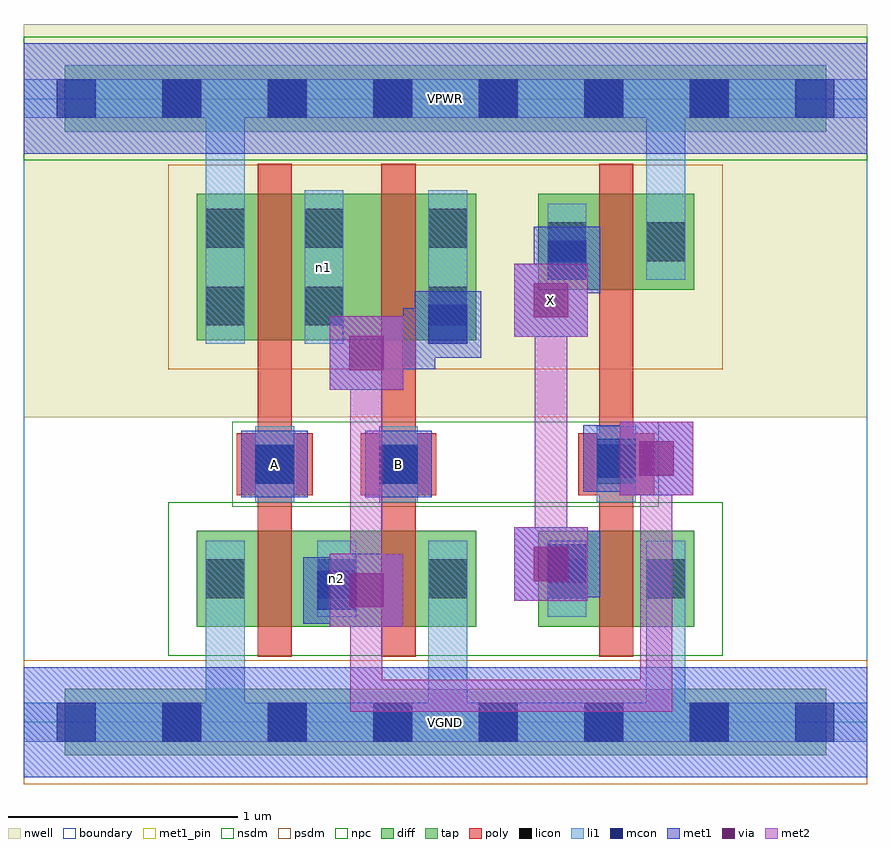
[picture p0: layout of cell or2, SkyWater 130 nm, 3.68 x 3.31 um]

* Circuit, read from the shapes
.subckt or2 A B VGND VPWR X n1 n2
XM1 n2 A VGND VGND sky130_fd_pr__nfet_01v8 w=0.42 l=0.15
XM2 VGND B n2 VGND sky130_fd_pr__nfet_01v8 w=0.42 l=0.15
XM3 VGND n2 X VGND sky130_fd_pr__nfet_01v8 w=0.42 l=0.15
XM4 n1 A VPWR VPWR sky130_fd_pr__pfet_01v8 w=0.64 l=0.15
XM5 n2 B n1 VPWR sky130_fd_pr__pfet_01v8 w=0.64 l=0.15
XM6 VPWR n2 X VPWR sky130_fd_pr__pfet_01v8 w=0.42 l=0.15
.ends

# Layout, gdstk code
import gdstk
lib = gdstk.Library(unit=1e-6, precision=1e-09)
def R(c, l, rs):  # rectangles x0, y0, x1, y1
    for r in rs: c.add(gdstk.rectangle(r[:2], r[2:], *l))
def A(c, l, x, y, w, h, nx, ny, dx, dy):  # array of equal rectangles
    R(c, l, [(x+i*dx, y+j*dy, x+i*dx+w, y+j*dy+h) for i in range(nx) for j in range(ny)])
nwell = (64, 20)
diff = (65, 20)
tap = (65, 44)
poly = (66, 20)
licon = (66, 44)
li1 = (67, 20)
mcon = (67, 44)
met1_pin = (68, 16)
met1 = (68, 20)
via = (68, 44)
met2 = (69, 20)
nsdm = (93, 44)
psdm = (94, 20)
npc = (95, 20)
boundary = (235, 4)

or2 = lib.new_cell('or2')
R(or2, nwell, [(0,1.33,3.68,3.045)])
R(or2, diff, [(0.755,0.415,1.975,0.835), (2.245,0.415,2.925,0.835), (0.755,1.665,1.975,2.305), (2.245,1.885,2.925,2.305)])
R(or2, tap, [(0.18,-0.145,3.5,0.145), (0.18,2.575,3.5,2.865)])
R(or2, poly, [(1.02,0.285,1.17,2.435), (1.56,0.285,1.71,2.435), (2.51,0.285,2.66,2.435), (0.93,0.99,1.26,1.26), (1.47,0.99,1.8,1.26), (2.42,0.99,2.75,1.26)])
A(or2, licon, 0.605, -0.085, 0.17, 0.17, 6, 2, 0.46, 2.72)
A(or2, licon, 0.795, 0.54, 0.17, 0.17, 3, 1, 0.485, 0)
R(or2, licon, [(2.285,0.54,2.455,0.71), (2.715,0.54,2.885,0.71), (1.01,1.04,1.18,1.21), (1.55,1.04,1.72,1.21), (2.5,1.04,2.67,1.21), (0.795,1.73,0.965,1.9), (1.225,1.73,1.395,1.9), (1.765,1.73,1.935,1.9), (2.285,2.01,2.455,2.18), (2.715,2.01,2.885,2.18), (0.795,2.07,0.965,2.24), (1.225,2.07,1.395,2.24), (1.765,2.07,1.935,2.24)])
A(or2, li1, 0.795, 0.46, 0.17, 0.33, 3, 1, 0.485, 0)
R(or2, li1, [(0,-0.085,3.68,0.085), (0.795,-0.085,0.965,0.79), (1.765,-0.085,1.935,0.79), (2.715,-0.085,2.885,0.79), (2.285,0.46,2.455,0.79), (2.715,0.46,2.885,0.79), (1.01,0.96,1.18,1.29), (1.55,0.96,1.72,1.29), (2.5,0.96,2.67,1.29), (0.795,1.65,0.965,2.32), (0.795,1.65,0.965,2.805), (1.225,1.65,1.395,2.32), (1.765,1.65,1.935,2.32), (2.285,1.93,2.455,2.26), (2.715,1.93,2.885,2.26), (2.715,1.93,2.885,2.805), (0,2.635,3.68,2.805)])
A(or2, mcon, 0.145, -0.085, 0.17, 0.17, 8, 2, 0.46, 2.72)
R(or2, mcon, [(1.28,0.49,1.45,0.66), (2.285,0.605,2.455,0.775), (1.01,1.04,1.18,1.21), (1.55,1.04,1.72,1.21), (2.5,1.065,2.67,1.235), (1.765,1.65,1.935,1.82), (2.285,1.93,2.455,2.1)])
R(or2, met1_pin, [(0,-0.24,3.68,0.24), (0.95,0.98,1.24,1.27), (1.49,0.98,1.78,1.27), (2.14,1.68,2.46,2), (0,2.48,3.68,2.96)])
R(or2, met1, [(0,-0.24,3.68,0.24), (1.335,0.415,1.655,0.735), (1.22,0.43,1.51,0.72), (1.295,0.505,1.565,0.645), (2.14,0.53,2.46,0.85), (2.225,0.545,2.515,0.835), (2.23,0.62,2.44,0.76), (0.95,0.98,1.24,1.27), (1.49,0.98,1.78,1.27), (2.6,0.99,2.92,1.31), (2.44,1.005,2.73,1.295), (2.515,1.08,2.83,1.22), (1.335,1.45,1.655,1.77), (1.425,1.54,1.795,1.68), (1.655,1.54,1.795,1.805), (1.705,1.59,1.995,1.88), (1.655,1.665,1.92,1.805), (2.14,1.68,2.46,2), (2.23,1.77,2.37,2.085), (2.225,1.87,2.515,2.16), (2.23,1.945,2.44,2.085), (0,2.48,3.68,2.96)])
R(or2, via, [(1.42,0.5,1.57,0.65), (2.225,0.615,2.375,0.765), (2.685,1.075,2.835,1.225), (1.42,1.535,1.57,1.685), (2.225,1.765,2.375,1.915)])
R(or2, met2, [(1.425,0.045,1.565,0.645), (1.425,0.045,2.83,0.185), (2.69,0.045,2.83,1.22), (1.335,0.415,1.655,0.735), (1.425,0.505,1.565,1.68), (2.14,0.53,2.46,0.85), (2.23,0.62,2.37,1.91), (2.6,0.99,2.92,1.31), (1.335,1.45,1.655,1.77), (2.14,1.68,2.46,2)])
R(or2, nsdm, [(0.63,0.29,3.05,0.96), (0,2.45,3.68,2.99)])
R(or2, psdm, [(0,-0.27,3.68,0.27), (0.63,1.54,3.05,2.43)])
R(or2, npc, [(0.91,0.94,2.77,1.31)])
R(or2, boundary, [(0,0,3.68,2.72)])
or2.add(gdstk.Label('n2', (1.365,0.625), layer=67, texttype=5))
or2.add(gdstk.Label('n1', (1.31,1.985), layer=67, texttype=5))
or2.add(gdstk.Label('A', (1.095,1.125), layer=68, texttype=5))
or2.add(gdstk.Label('B', (1.635,1.125), layer=68, texttype=5))
or2.add(gdstk.Label('X', (2.3,1.84), layer=68, texttype=5))
or2.add(gdstk.Label('VPWR', (1.84,2.72), layer=68, texttype=5))
or2.add(gdstk.Label('VGND', (1.84,0), layer=68, texttype=5))
or2.add(gdstk.Label('A', (1.095,1.125), layer=68, texttype=16))
or2.add(gdstk.Label('B', (1.635,1.125), layer=68, texttype=16))
or2.add(gdstk.Label('X', (2.3,1.84), layer=68, texttype=16))
or2.add(gdstk.Label('VPWR', (1.84,2.72), layer=68, texttype=16))
or2.add(gdstk.Label('VGND', (1.84,0), layer=68, texttype=16))

lib.write_gds('or2.gds')
